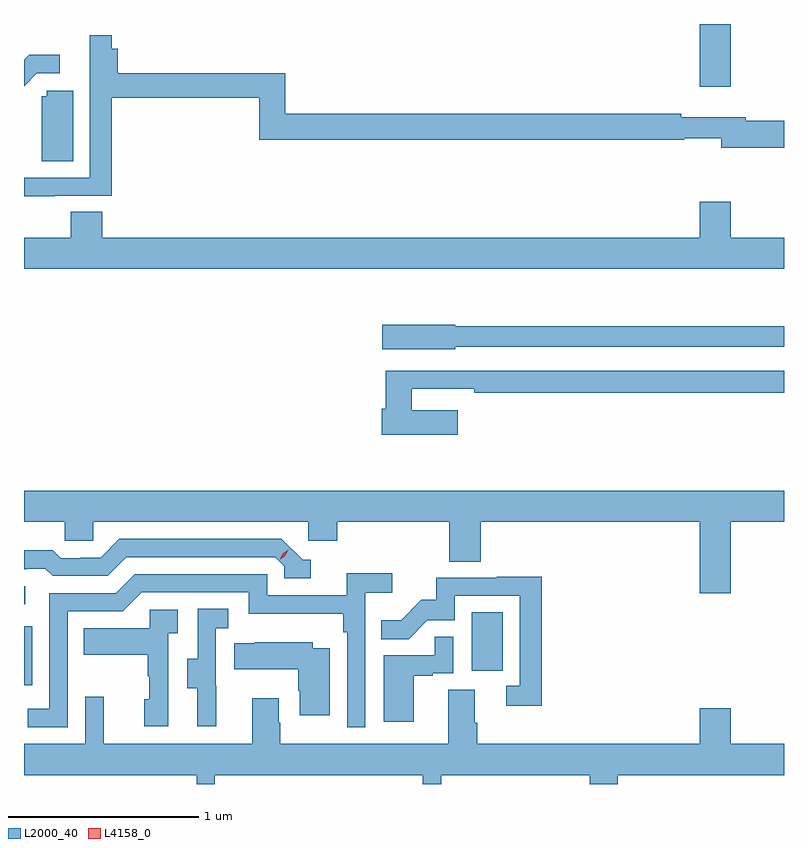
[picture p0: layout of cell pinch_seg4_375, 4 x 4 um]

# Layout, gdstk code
import gdstk
lib = gdstk.Library(unit=1e-6, precision=1e-09)
def R(c, l, rs):  # rectangles x0, y0, x1, y1
    for r in rs: c.add(gdstk.rectangle(r[:2], r[2:], *l))
def P(c, l, *ps):  # polygons
    for p in ps: c.add(gdstk.Polygon(p, *l))
L2000_40 = (2000, 40)
L4158_0 = (4158, 0)

pinch_seg4_375 = lib.new_cell('pinch_seg4_375')
R(pinch_seg4_375, L2000_40, [(1012.6,782.64,1012.644,782.95), (1014.956,782.718,1015.12,783.025), (1012.6,783.066,1012.606,783.162), (1016.156,785.79,1016.32,786.121)])
P(pinch_seg4_375, L2000_40, [(1012.763,785.217),(1013.063,785.217),(1013.063,785.734),(1013.839,785.734),(1013.839,785.512),(1016.074,785.512),(1016.074,785.52),(1016.27,785.52),(1016.27,785.47),(1016.6,785.47),(1016.6,785.612),(1016.398,785.612),(1016.398,785.629),(1016.06,785.629),(1016.06,785.648),(1013.975,785.648),(1013.975,785.863),(1013.093,785.863),(1013.093,785.992),(1013.063,785.992),(1013.063,786.061),(1012.947,786.061),(1012.947,785.313),(1012.6,785.313),(1012.6,785.215),(1012.763,785.215)],
  [(1012.668,785.862),(1012.789,785.862),(1012.789,785.959),(1012.627,785.959),(1012.6,785.932),(1012.6,785.794)],
  [(1012.858,785.769),(1012.719,785.769),(1012.719,785.742),(1012.694,785.742),(1012.694,785.398),(1012.858,785.398)],
  [(1016.6,784.996),(1016.32,784.996),(1016.32,785.185),(1016.156,785.185),(1016.156,784.996),(1013.012,784.996),(1013.012,785.132),(1012.847,785.132),(1012.847,784.996),(1012.6,784.996),(1012.6,784.832),(1016.6,784.832)],
  [(1014.87,784.422),(1016.6,784.422),(1016.6,784.531),(1014.87,784.531),(1014.87,784.539),(1014.486,784.539),(1014.486,784.409),(1014.87,784.409)],
  [(1014.883,784.087),(1014.641,784.087),(1014.641,784.2),(1014.97,784.2),(1014.97,784.18),(1016.6,784.18),(1016.6,784.296),(1014.505,784.296),(1014.505,784.095),(1014.482,784.095),(1014.482,783.958),(1014.883,783.958)],
  [(1016.32,783.5),(1016.6,783.5),(1016.6,783.664),(1012.6,783.664),(1012.6,783.5),(1012.815,783.5),(1012.815,783.402),(1012.965,783.402),(1012.965,783.5),(1014.096,783.5),(1014.096,783.402),(1014.248,783.402),(1014.248,783.5),(1014.839,783.5),(1014.839,783.292),(1015.004,783.292),(1015.004,783.5),(1016.156,783.5),(1016.156,783.126),(1016.32,783.126)],
  [(1014.109,783.3),(1014.066,783.3),(1013.955,783.411),(1013.102,783.411),(1013.003,783.312),(1012.896,783.312),(1012.896,783.309),(1012.793,783.309),(1012.751,783.352),(1012.6,783.352),(1012.6,783.252),(1012.613,783.252),(1012.613,783.255),(1012.712,783.255),(1012.751,783.216),(1013.04,783.216),(1013.139,783.315),(1013.922,783.315),(1013.97,783.267),(1013.97,783.204),(1014.109,783.204)],
  [(1012.83,783.03),(1013.121,783.03),(1013.22,783.129),(1013.784,783.129),(1013.784,783.017),(1014.28,783.017),(1014.28,782.921),(1014.3,782.921),(1014.3,782.421),(1014.396,782.421),(1014.396,783.128),(1014.538,783.128),(1014.538,783.23),(1014.299,783.23),(1014.299,783.114),(1013.88,783.114),(1013.88,783.225),(1013.183,783.225),(1013.084,783.126),(1012.734,783.126),(1012.734,782.517),(1012.621,782.517),(1012.621,782.421),(1012.83,782.421)],
  [(1015.325,783.212),(1015.087,783.212),(1015.087,783.207),(1014.769,783.207),(1014.769,783.09),(1014.692,783.09),(1014.585,782.983),(1014.481,782.983),(1014.481,782.884),(1014.625,782.884),(1014.723,782.982),(1014.867,782.982),(1014.867,783.111),(1015.209,783.111),(1015.209,782.637),(1015.137,782.637),(1015.137,782.532),(1015.325,782.532)],
  [(1013.612,782.637),(1013.61,782.637),(1013.61,782.941),(1013.674,782.941),(1013.674,783.044),(1013.514,783.044),(1013.514,782.781),(1013.459,782.781),(1013.459,782.626),(1013.513,782.626),(1013.513,782.424),(1013.612,782.424)],
  [(1013.358,782.915),(1013.41,782.915),(1013.41,783.039),(1013.262,783.039),(1013.262,782.941),(1012.915,782.941),(1012.915,782.801),(1013.25,782.801),(1013.25,782.687),(1013.26,782.687),(1013.26,782.568),(1013.234,782.568),(1013.234,782.424),(1013.358,782.424)],
  [(1014.652,782.691),(1014.752,782.691),(1014.752,782.703),(1014.858,782.703),(1014.858,782.897),(1014.763,782.897),(1014.763,782.799),(1014.494,782.799),(1014.494,782.448),(1014.652,782.448)],
  [(1014.208,782.836),(1014.121,782.836),(1014.121,782.866),(1013.815,782.866),(1013.815,782.863),(1013.707,782.863),(1013.707,782.726),(1014.043,782.726),(1014.043,782.613),(1014.05,782.613),(1014.05,782.484),(1014.208,782.484)],
  [(1014.833,782.618),(1014.833,782.332),(1013.949,782.332),(1013.949,782.444),(1013.941,782.444),(1013.941,782.572),(1013.801,782.572),(1013.801,782.332),(1013.021,782.332),(1013.021,782.581),(1012.923,782.581),(1012.923,782.332),(1012.6,782.332),(1012.6,782.168),(1013.508,782.168),(1013.508,782.121),(1013.604,782.121),(1013.604,782.168),(1014.699,782.168),(1014.699,782.121),(1014.797,782.121),(1014.797,782.168),(1015.577,782.168),(1015.577,782.121),(1015.725,782.121),(1015.725,782.168),(1016.6,782.168),(1016.6,782.332),(1016.32,782.332),(1016.32,782.521),(1016.156,782.521),(1016.156,782.332),(1014.986,782.332),(1014.986,782.444),(1014.973,782.444),(1014.973,782.618)])
P(pinch_seg4_375, L4158_0, [(1013.946,783.301),(1013.946,783.302),(1013.961,783.334),(1013.991,783.355),(1013.991,783.355),(1013.991,783.354),(1013.976,783.322),(1013.946,783.301)])

lib.write_gds('pinch_seg4_375.gds')
